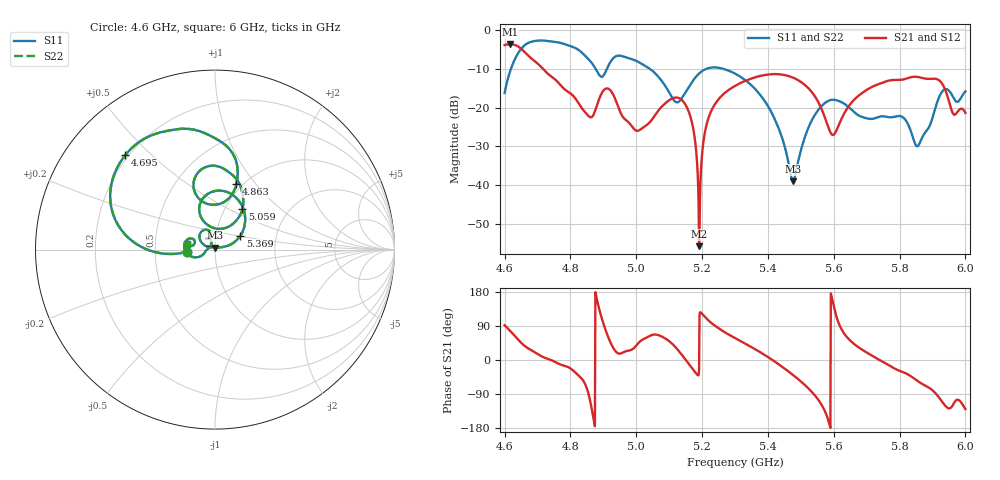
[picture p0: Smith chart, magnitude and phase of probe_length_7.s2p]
! TOUCHSTONE file generated by CST MICROWAVE STUDIO
! Date and time: Sat Nov 30 13:12:00 2024
! Project name: test_tuning.cst
! Parameters = {airCoaxOuterDiameter=3; chamferAngle=45; chamferWidth=24; connectorLength=10; drillingHoleDiameter=4.1; feedLength=60; flareDiameter=130; flareLength=70; gratingDistance=0; gratingGap=1.90274; outletLength=30; polarizerLength=134; probe1Diameter=1.3; probe1Distance=14; probe1Length=1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
! Header version: 2024
! Port assignment regex: !\s*Touchstone port\s*([0-9]+)\s*=\s*(CST MWS port|CST DES external port|CST DES block port)\s*(.+)\s* \(\"(.*)\"\)(\s*mode\s*([0-9]+))?.*
! Touchstone port assignment:
! Touchstone port 1 = CST MWS port 1 ("Input1")
! Touchstone port 2 = CST MWS port 2 ("Input2")
# GHz S MA R 50
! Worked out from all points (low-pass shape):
!   1001 points, 4.6 GHz to 6 GHz, reference 50 ohm
!   highest |S21| = -3.67 dB at 4.617 GHz (marker M1); lowest = -55.7 dB at 5.191 GHz (marker M2)
!   |S21| within 3 dB of the highest: start of sweep to 4.673 GHz
!   lowest |S11| = -39.0 dB at 5.476 GHz (marker M3), VSWR 1.02, Z = 50 + j1.12 ohm
!   |S11| at or under -10 dB: 4.877 GHz to 4.911 GHz (34.47 MHz wide, 0.704 % of centre); 5.041 GHz to 5.213 GHz (171.9 MHz wide, 3.35 % of centre); 5.264 GHz to end of sweep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
!   |S22| runs from -39.0 to -2.7 dB; largest |S21 - S12| = 3.9e-07
!   S11 on the Smith chart (normalised r, x): 4.6 GHz: 0.73, -0.02; 4.695 GHz: 0.19, +0.42; 4.863 GHz: 0.94, +0.80; 5.059 GHz: 1.21, +0.58; 5.369 GHz: 1.31, +0.21; 6 GHz: 0.72, +0.05
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4.6  0.1544 -176.0  0.6396 91.8  0.6396 91.8  0.1544 -176.0
4.6168  0.2947 -175.8  0.6555 76.9  0.6555 76.9  0.2947 -175.8
4.6952  0.7258 133.5  0.3858 18.6  0.3858 18.6  0.7258 133.5
4.8338  0.5158 77.2  0.09977 -48.9  0.09978 -48.9  0.5158 77.2
4.8632  0.3834 72.0  0.07508 -122.1  0.07508 -122.1  0.3834 72.0
4.9108  0.3149 108.7  0.1769 69.5  0.1769 69.5  0.3149 108.7
4.999  0.4022 71.3  0.05069 37.2  0.05069 37.2  0.4022 71.3
5.0592  0.2716 55.7  0.08233 67.1  0.08233 67.1  0.2716 55.7
5.0676  0.2483 54.3  0.09212 65.5  0.09212 65.5  0.2483 54.3
5.1516  0.1627 110.8  0.1054 -1.1  0.1054 -1.1  0.1627 110.8
5.174  0.2272 112.5  0.051 -26.8  0.051 -26.8  0.2272 112.5
5.1908  0.2747 107.1  0.00164 -27.9  0.00164 -27.9  0.2747 107.1
5.2216  0.3246 91.4  0.07815 102.6  0.07815 102.6  0.3246 91.4
5.3  0.2747 54.5  0.1901 58.0  0.1901 58.0  0.2747 54.5
5.3686  0.1601 28.4  0.251 24.8  0.251 24.8  0.1601 28.4
5.4764  0.01121 88.5  0.2434 -39.7  0.2434 -39.7  0.01121 88.5
5.5338  0.06935 156.2  0.1577 -84.6  0.1577 -84.6  0.06935 156.2
5.5982  0.1263 123.5  0.04443 149.2  0.04443 149.2  0.1263 123.5
5.7676  0.07518 125.0  0.2231 -13.7  0.2231 -13.7  0.07518 125.0
5.8544  0.03179 149.1  0.2487 -55.1  0.2487 -55.1  0.03179 149.1
5.9314  0.1649 -176.6  0.1968 -112.5  0.1968 -112.5  0.1649 -176.6
6  0.1618 168.7  0.08567 -129.5  0.08567 -129.5  0.1618 168.7
